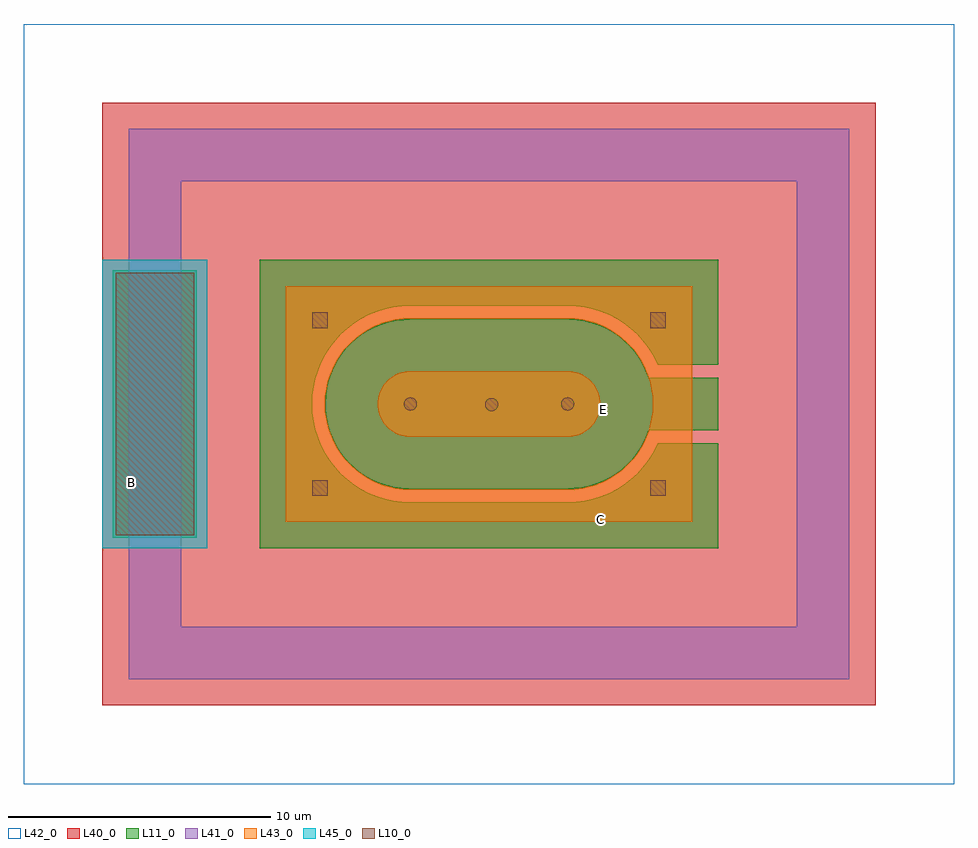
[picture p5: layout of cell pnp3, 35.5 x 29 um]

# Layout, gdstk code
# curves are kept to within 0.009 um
import gdstk
lib = gdstk.Library(unit=1e-6, precision=1e-09)
def R(c, l, rs):  # rectangles x0, y0, x1, y1
    for r in rs: c.add(gdstk.rectangle(r[:2], r[2:], *l))
def P(c, l, *ps):  # polygons
    for p in ps: c.add(gdstk.Polygon(p, *l))
L10_0 = (10, 0)
L11_0 = (11, 0)
L40_0 = (40, 0)
L41_0 = (41, 0)
L42_0 = (42, 0)
L43_0 = (43, 0)
L45_0 = (45, 0)

pnp3 = lib.new_cell('pnp3')
R(pnp3, L10_0, [(3.5,3.5,6.5,13.5), (11,5,11.6,5.6), (23.9,5,24.5,5.6), (11,11.4,11.6,12), (23.9,11.4,24.5,12)])
P(pnp3, L10_0, [(17.85,8.728),(17.744,8.705),(17.673,8.655),(17.623,8.584),(17.6,8.478),(17.623,8.372),(17.673,8.301),(17.744,8.251),(17.85,8.228),(17.956,8.251),(18.027,8.301),(18.077,8.372),(18.1,8.478),(18.077,8.584),(18.027,8.655),(17.956,8.705)],
  [(20.75,8.75),(20.644,8.727),(20.573,8.677),(20.523,8.606),(20.5,8.5),(20.523,8.394),(20.573,8.323),(20.644,8.273),(20.75,8.25),(20.856,8.273),(20.927,8.323),(20.977,8.394),(21,8.5),(20.977,8.606),(20.927,8.677),(20.856,8.727)],
  [(14.75,8.75),(14.644,8.727),(14.573,8.677),(14.523,8.606),(14.5,8.5),(14.523,8.394),(14.573,8.323),(14.644,8.273),(14.75,8.25),(14.856,8.273),(14.927,8.323),(14.977,8.394),(15,8.5),(14.977,8.606),(14.927,8.677),(14.856,8.727)])
R(pnp3, L11_0, [(3.4,3.4,6.6,13.6)])
P(pnp3, L11_0, [(26.5,14),(9,14),(9,3),(26.5,3),(26.5,7),(24.184,7),(23.998,6.625),(23.822,6.349),(23.623,6.09),(23.402,5.848),(23.16,5.627),(22.901,5.428),(22.625,5.252),(22.335,5.101),(22.033,4.976),(21.721,4.878),(21.401,4.807),(21.077,4.764),(20.75,4.75),(14.75,4.75),(14.423,4.764),(14.099,4.807),(13.779,4.878),(13.467,4.976),(13.165,5.101),(12.875,5.252),(12.599,5.428),(12.34,5.627),(12.098,5.848),(11.877,6.09),(11.678,6.349),(11.502,6.625),(11.351,6.915),(11.226,7.217),(11.128,7.529),(11.057,7.849),(11.014,8.173),(11,8.5),(11.014,8.827),(11.057,9.151),(11.128,9.471),(11.226,9.783),(11.351,10.085),(11.502,10.375),(11.678,10.651),(11.877,10.91),(12.098,11.152),(12.34,11.373),(12.599,11.572),(12.875,11.748),(13.165,11.899),(13.467,12.024),(13.779,12.122),(14.099,12.193),(14.423,12.236),(14.75,12.25),(20.75,12.25),(21.077,12.236),(21.401,12.193),(21.721,12.122),(22.033,12.024),(22.335,11.899),(22.625,11.748),(22.901,11.572),(23.16,11.373),(23.402,11.152),(23.623,10.91),(23.822,10.651),(23.998,10.375),(24.184,10),(26.5,10)],
  [(20.8,11.75),(14.517,11.742),(14.235,11.709),(13.957,11.652),(13.685,11.571),(13.422,11.467),(13.168,11.34),(12.927,11.191),(12.699,11.022),(12.487,10.833),(12.292,10.627),(12.116,10.405),(11.96,10.168),(11.826,9.919),(11.713,9.659),(11.624,9.389),(11.558,9.114),(11.517,8.833),(11.5,8.55),(11.508,8.267),(11.541,7.985),(11.598,7.707),(11.679,7.435),(11.783,7.172),(11.91,6.918),(12.059,6.677),(12.228,6.449),(12.417,6.237),(12.623,6.042),(12.845,5.866),(13.082,5.71),(13.331,5.576),(13.591,5.463),(13.861,5.374),(14.136,5.308),(14.417,5.267),(14.7,5.25),(20.983,5.258),(21.265,5.291),(21.543,5.348),(21.815,5.429),(22.078,5.533),(22.332,5.66),(22.573,5.809),(22.801,5.978),(23.013,6.167),(23.208,6.373),(23.384,6.595),(23.54,6.832),(23.674,7.081),(23.787,7.341),(23.839,7.5),(26.5,7.5),(26.5,9.5),(23.84,9.5),(23.717,9.828),(23.59,10.082),(23.441,10.323),(23.272,10.551),(23.083,10.763),(22.877,10.958),(22.655,11.134),(22.418,11.29),(22.169,11.424),(21.909,11.537),(21.639,11.626),(21.364,11.692),(21.083,11.733)])
R(pnp3, L40_0, [(3,-3,32.5,20)])
R(pnp3, L41_0, [(4,4,6,13)])
P(pnp3, L41_0, [(31.5,19),(4,19),(4,13),(6,13),(6,17),(29.5,17),(29.5,0),(6,0),(6,4),(4,4),(4,-2),(31.5,-2)])
R(pnp3, L42_0, [(0,-6,35.5,23)])
P(pnp3, L43_0, [(20.75,9.751),(14.75,9.751),(14.526,9.73),(14.35,9.686),(14.114,9.578),(13.949,9.463),(13.865,9.385),(13.721,9.21),(13.617,9.032),(13.564,8.9),(13.52,8.725),(13.499,8.501),(13.52,8.275),(13.564,8.101),(13.672,7.863),(13.787,7.699),(13.949,7.537),(14.114,7.422),(14.218,7.367),(14.426,7.292),(14.635,7.254),(20.75,7.249),(20.974,7.27),(21.15,7.314),(21.386,7.422),(21.551,7.537),(21.713,7.699),(21.828,7.864),(21.936,8.101),(21.996,8.386),(21.996,8.614),(21.936,8.9),(21.828,9.137),(21.713,9.301),(21.551,9.463),(21.386,9.578),(21.15,9.686),(20.974,9.73)],
  [(25.5,13),(20.75,13),(20.75,11.753),(21.05,11.74),(21.346,11.696),(21.806,11.579),(22.12,11.452),(22.409,11.299),(22.611,11.165),(22.817,11.017),(23.049,10.801),(23.264,10.57),(23.404,10.376),(23.554,10.153),(23.701,9.872),(23.834,9.542),(23.949,9.086),(23.99,8.8),(24.003,8.503),(23.99,8.198),(23.95,7.921),(23.837,7.47),(23.7,7.125),(23.55,6.842),(23.419,6.644),(23.254,6.418),(23.06,6.211),(22.825,5.99),(22.606,5.832),(22.409,5.701),(22.12,5.548),(21.806,5.421),(21.346,5.304),(21.05,5.26),(20.75,5.247),(14.75,5.247),(14.45,5.26),(14.154,5.304),(13.694,5.421),(13.38,5.548),(13.091,5.701),(12.675,5.99),(12.44,6.211),(12.246,6.417),(12.098,6.621),(11.946,6.847),(11.799,7.128),(11.664,7.467),(11.55,7.921),(11.51,8.198),(11.497,8.497),(11.51,8.8),(11.551,9.086),(11.605,9.328),(11.666,9.542),(11.799,9.872),(11.946,10.153),(12.236,10.57),(12.451,10.801),(12.683,11.017),(13.091,11.299),(13.38,11.452),(13.694,11.579),(14.154,11.696),(14.45,11.74),(14.75,11.753),(20.75,11.749),(20.75,13),(10,13),(10,4),(25.5,4)])
R(pnp3, L45_0, [(3,3,7,14)])
pnp3.add(gdstk.Label('B', (4.1,5.5), layer=11, texttype=0))
pnp3.add(gdstk.Label('C', (22,4.1), layer=11, texttype=0))
pnp3.add(gdstk.Label('E', (22.1,8.3), layer=11, texttype=0))

lib.write_gds('pnp3.gds')
